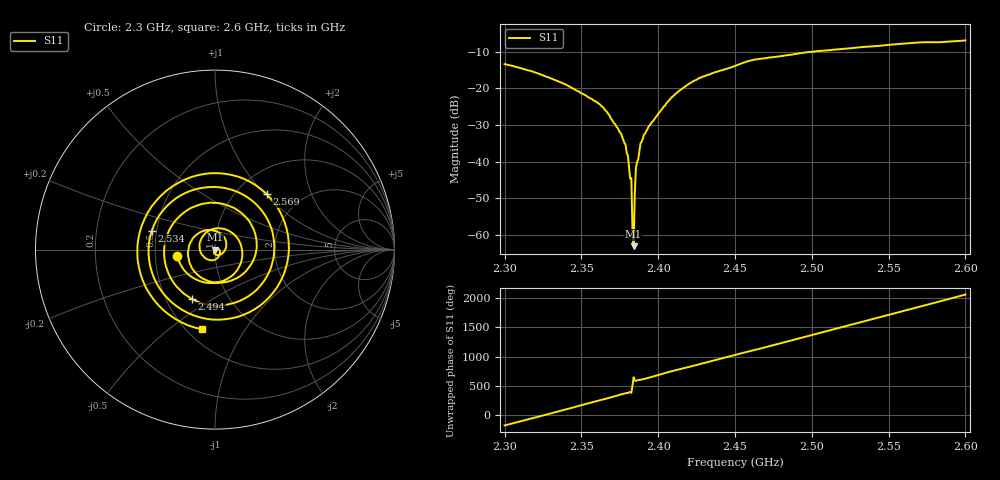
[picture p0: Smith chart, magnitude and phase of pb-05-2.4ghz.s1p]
! NanoVNA-App
! Date: 2026-05-22 17:25:33
! Start: 2.3GHz Stop: 2.6GHz Points: 401
! S-Parameter data: F S11
# Hz S RI R 50
!  Frequency  S11_Real  S11_Imag
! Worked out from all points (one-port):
!   401 points, 2.3 GHz to 2.6 GHz, reference 50 ohm
!   lowest |S11| = -63.0 dB at 2.384 GHz (marker M1), VSWR 1.00, Z = 50 - j0.0659 ohm
!   |S11| at or under -10 dB: start of sweep to 2.5 GHz
!   S11 on the Smith chart (normalised r, x): 2.3 GHz: 0.65, -0.05; 2.494 GHz: 0.67, -0.41; 2.534 GHz: 0.47, +0.11; 2.569 GHz: 1.36, +1.03; 2.6 GHz: 0.59, -0.66
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2.3e9  -0.2107 -0.0362
2.3105e9  -0.0299 -0.1863
2.32175e9  0.1478 -0.0605
2.3375e9  0.00672 0.1182
2.36225e9  -0.00925 -0.0593
2.375e9  0.025 -0.0028
2.3795e9  0.012 0.00537
2.381e9  0.0071 0.00473
2.3825e9  0.00541 0.00257
2.384e9  0.000256 -0.000658
2.387e9  -0.0049 -0.00965
2.39e9  -0.00416 -0.0202
2.4125e9  0.046 0.0756
2.43275e9  -0.1499 -0.0364
2.45e9  0.1356 -0.1508
2.4605e9  0.2243 0.0871
2.471e9  -0.00326 0.2601
2.4875e9  -0.2653 -0.1163
2.4935e9  -0.1295 -0.2753
2.51e9  0.3293 -0.0151
2.525e9  -0.069 0.3442
2.534e9  -0.3521 0.1046
2.549e9  -0.0176 -0.3896
2.5625e9  0.4118 0.00432
2.56925e9  0.2878 0.3096
2.5775e9  -0.098 0.4141
2.5865e9  -0.4189 0.0989
2.6e9  -0.0718 -0.4444
